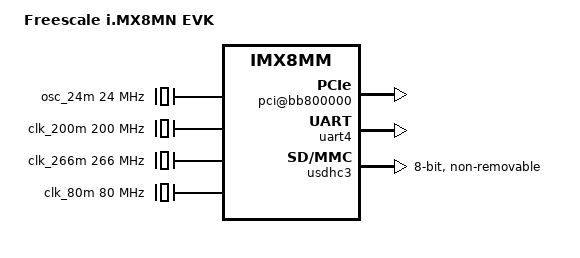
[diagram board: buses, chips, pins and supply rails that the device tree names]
// SPDX-License-Identifier: (GPL-2.0+ OR MIT)
/*
 * Copyright 2020 NXP
 */

/dts-v1/;

#include <dt-bindings/interrupt-controller/arm-gic.h>

/ {
	model = "Freescale i.MX8MN EVK";
	compatible = "fsl,imx8mn-evk", "fsl,imx8mm";
	interrupt-parent = <&gic>;
	#address-cells = <2>;
	#size-cells = <2>;

	aliases {
		serial3 = &uart4;
		mmc2 = &usdhc3;
	};

	cpus {
		#address-cells = <1>;
		#size-cells = <0>;

		A53_2: cpu@2 {
			device_type = "cpu";
			compatible = "arm,cortex-a53";
			reg = <0x2>;
			clock-latency = <61036>;
			next-level-cache = <&A53_L2>;
			enable-method = "psci";
			#cooling-cells = <2>;
		};

		A53_3: cpu@3 {
			device_type = "cpu";
			compatible = "arm,cortex-a53";
			reg = <0x3>;
			clock-latency = <61036>;
			next-level-cache = <&A53_L2>;
			enable-method = "psci";
			#cooling-cells = <2>;
		};

		A53_L2: l2-cache0 {
			compatible = "cache";
		};
	};

	pmu {
		compatible = "arm,armv8-pmuv3";
		interrupt-parent = <&gic>;
		interrupts = <GIC_PPI 7
				(GIC_CPU_MASK_SIMPLE(6) | IRQ_TYPE_LEVEL_HIGH)>;
		interrupt-affinity = <&A53_2>, <&A53_3>;
	};

	osc_24m: clock-osc-24m {
		compatible = "fixed-clock";
		#clock-cells = <0>;
		clock-frequency = <24000000>;
		clock-output-names = "osc_24m";
	};

	gic: interrupt-controller@38800000 {
		compatible = "arm,gic-v3";
		reg = <0x0 0x38800000 0 0x10000>, /* GIC Dist */
		      <0x0 0x38880000 0 0xC0000>; /* GICR (RD_base + SGI_base) */
		#interrupt-cells = <3>;
		interrupt-controller;
		interrupts = <GIC_PPI 9 IRQ_TYPE_LEVEL_HIGH>;
		interrupt-parent = <&gic>;
	};

	timer {
		compatible = "arm,armv8-timer";
		interrupts = <GIC_PPI 13 (GIC_CPU_MASK_SIMPLE(6) | IRQ_TYPE_LEVEL_LOW)>, /* Physical Secure */
			     <GIC_PPI 14 (GIC_CPU_MASK_SIMPLE(6) | IRQ_TYPE_LEVEL_LOW)>, /* Physical Non-Secure */
			     <GIC_PPI 11 (GIC_CPU_MASK_SIMPLE(6) | IRQ_TYPE_LEVEL_LOW)>, /* Virtual */
			     <GIC_PPI 10 (GIC_CPU_MASK_SIMPLE(6) | IRQ_TYPE_LEVEL_LOW)>; /* Hypervisor */
		clock-frequency = <8333333>;
	};

	clk_dummy: clock@7 {
		compatible = "fixed-clock";
		#clock-cells = <0>;
		clock-frequency = <0>;
		clock-output-names = "clk_dummy";
	};

	/* The clocks are configured by 1st OS */
	clk_200m: clock@8 {
		compatible = "fixed-clock";
		#clock-cells = <0>;
		clock-frequency = <200000000>;
		clock-output-names = "200m";
	};
	clk_266m: clock@9 {
		compatible = "fixed-clock";
		#clock-cells = <0>;
		clock-frequency = <266000000>;
		clock-output-names = "266m";
	};
	clk_80m: clock@10 {
		compatible = "fixed-clock";
		#clock-cells = <0>;
		clock-frequency = <80000000>;
		clock-output-names = "80m";
	};

	pci@bb800000 {
		compatible = "pci-host-ecam-generic";
		device_type = "pci";
		bus-range = <0 0>;
		#address-cells = <3>;
		#size-cells = <2>;
		#interrupt-cells = <1>;
		interrupt-map-mask = <0 0 0 7>;
		interrupt-map = <0 0 0 1 &gic GIC_SPI 76 IRQ_TYPE_EDGE_RISING>;
		reg = <0x0 0xbb800000 0x0 0x100000>;
		ranges = <0x02000000 0x00 0x10000000 0x0 0x10000000 0x00 0x10000>;
	};

	soc@0 {
		compatible = "simple-bus";
		#address-cells = <1>;
		#size-cells = <1>;
		ranges = <0x0 0x0 0x0 0x3e000000>;
		dma-ranges = <0x40000000 0x0 0x40000000 0xc0000000>;

		aips3: bus@30800000 {
			compatible = "fsl,imx8mq-aips-bus", "simple-bus";
			#address-cells = <1>;
			#size-cells = <1>;
			ranges = <0x30800000 0x30800000 0x400000>,
				 <0x08000000 0x08000000 0x10000000>;

			uart4: serial@30a60000 {
				compatible = "fsl,imx8mn-uart", "fsl,imx6q-uart";
				reg = <0x30a60000 0x10000>;
				interrupts = <GIC_SPI 29 IRQ_TYPE_LEVEL_HIGH>;
				status = "disabled";
			};

			usdhc3: mmc@30b60000 {
				compatible = "fsl,imx8mn-usdhc", "fsl,imx8mm-usdhc";
				reg = <0x30b60000 0x10000>;
				interrupts = <GIC_SPI 24 IRQ_TYPE_LEVEL_HIGH>;
				clock-names = "ipg", "ahb", "per";
				fsl,tuning-start-tap = <20>;
				fsl,tuning-step= <2>;
				bus-width = <4>;
				status = "disabled";
			};
		};
	};
};

&uart4 {
	clocks = <&osc_24m>,
		<&osc_24m>;
	clock-names = "ipg", "per";
	/delete-property/ dmas;
	/delete-property/ dmas-names;
	status = "okay";
};

&usdhc3 {
	clocks = <&clk_dummy>,
		<&clk_266m>,
		<&clk_200m>;
	/delete-property/assigned-clocks;
	/delete-property/assigned-clock-rates;
	clock-names = "ipg", "ahb", "per";
	bus-width = <8>;
	non-removable;
	status = "okay";
};
